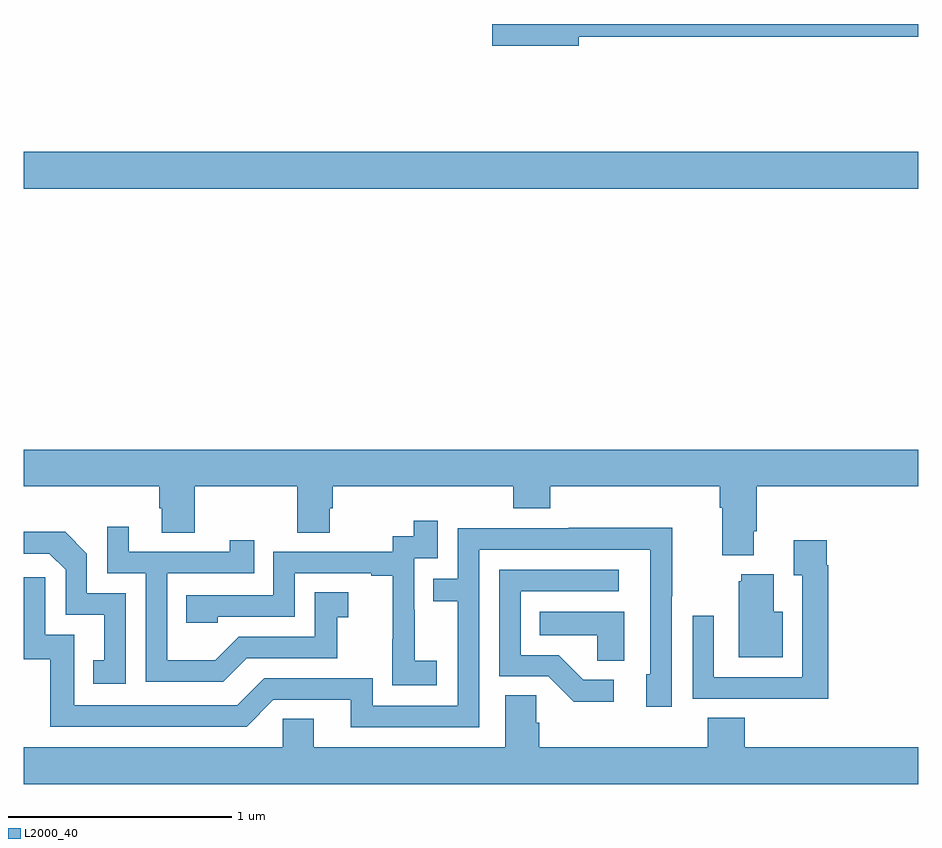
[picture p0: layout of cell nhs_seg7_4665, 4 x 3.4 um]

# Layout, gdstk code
import gdstk
lib = gdstk.Library(unit=1e-6, precision=1e-09)
def R(c, l, rs):  # rectangles x0, y0, x1, y1
    for r in rs: c.add(gdstk.rectangle(r[:2], r[2:], *l))
def P(c, l, *ps):  # polygons
    for p in ps: c.add(gdstk.Polygon(p, *l))
L2000_40 = (2000, 40)

nhs_seg7_4665 = lib.new_cell('nhs_seg7_4665')
R(nhs_seg7_4665, L2000_40, [(405,1019.264,409,1019.428)])
P(nhs_seg7_4665, L2000_40, [(407.482,1019.944),(409,1019.944),(409,1020),(407.094,1020),(407.094,1019.902),(407.482,1019.902)],
  [(408.265,1017.73),(408.278,1017.73),(408.278,1017.932),(409,1017.932),(409,1018.096),(405,1018.096),(405,1017.932),(405.605,1017.932),(405.605,1017.834),(405.617,1017.834),(405.617,1017.724),(405.765,1017.724),(405.765,1017.932),(406.222,1017.932),(406.222,1017.724),(406.369,1017.724),(406.369,1017.834),(406.382,1017.834),(406.382,1017.932),(407.189,1017.932),(407.189,1017.833),(407.354,1017.833),(407.354,1017.932),(408.113,1017.932),(408.113,1017.836),(408.125,1017.836),(408.125,1017.623),(408.265,1017.623)],
  [(406.846,1017.151),(406.748,1017.151),(406.748,1017.38),(406.746,1017.38),(406.746,1017.609),(406.851,1017.609),(406.851,1017.778),(406.743,1017.778),(406.743,1017.708),(406.65,1017.708),(406.65,1017.639),(406.116,1017.639),(406.116,1017.444),(405.727,1017.444),(405.727,1017.321),(405.867,1017.321),(405.867,1017.348),(406.212,1017.348),(406.212,1017.543),(406.553,1017.543),(406.553,1017.531),(406.649,1017.531),(406.649,1017.247),(406.648,1017.247),(406.648,1017.041),(406.846,1017.041)],
  [(405.997,1017.162),(406.401,1017.162),(406.401,1017.347),(406.45,1017.347),(406.45,1017.457),(406.302,1017.457),(406.302,1017.258),(405.96,1017.258),(405.856,1017.154),(405.642,1017.154),(405.642,1017.543),(406.031,1017.543),(406.031,1017.691),(405.92,1017.691),(405.92,1017.639),(405.469,1017.639),(405.469,1017.751),(405.372,1017.751),(405.372,1017.543),(405.546,1017.543),(405.546,1017.057),(405.892,1017.057)],
  [(407.037,1017.648),(407.802,1017.648),(407.802,1017.09),(407.783,1017.09),(407.783,1016.946),(407.898,1016.946),(407.898,1017.439),(407.901,1017.439),(407.901,1017.746),(407.437,1017.746),(407.437,1017.744),(406.941,1017.744),(406.941,1017.519),(406.831,1017.519),(406.831,1017.418),(406.941,1017.418),(406.941,1016.949),(406.56,1016.949),(406.56,1017.072),(406.074,1017.072),(405.954,1016.952),(405.225,1016.952),(405.225,1017.267),(405.096,1017.267),(405.096,1017.526),(405,1017.526),(405,1017.159),(405.117,1017.159),(405.117,1016.856),(405.996,1016.856),(406.116,1016.976),(406.463,1016.976),(406.463,1016.853),(407.037,1016.853)],
  [(405.456,1017.453),(405.282,1017.453),(405.282,1017.63),(405.184,1017.728),(405,1017.728),(405,1017.63),(405.114,1017.63),(405.186,1017.558),(405.186,1017.357),(405.359,1017.357),(405.359,1017.153),(405.31,1017.153),(405.31,1017.048),(405.456,1017.048)],
  [(408.599,1017.578),(408.592,1017.578),(408.592,1017.691),(408.443,1017.691),(408.443,1017.535),(408.483,1017.535),(408.483,1017.078),(408.087,1017.078),(408.087,1017.352),(407.991,1017.352),(407.991,1016.982),(408.307,1016.982),(408.307,1016.981),(408.599,1016.981)],
  [(407.638,1017.066),(407.503,1017.066),(407.392,1017.177),(407.223,1017.177),(407.223,1017.462),(407.662,1017.462),(407.662,1017.558),(407.127,1017.558),(407.127,1017.081),(407.346,1017.081),(407.459,1016.969),(407.638,1016.969)],
  [(408.394,1017.37),(408.355,1017.37),(408.355,1017.538),(408.209,1017.538),(408.209,1017.507),(408.197,1017.507),(408.197,1017.167),(408.394,1017.167)],
  [(407.686,1017.37),(407.308,1017.37),(407.308,1017.266),(407.565,1017.266),(407.565,1017.151),(407.686,1017.151)],
  [(409,1016.764),(408.224,1016.764),(408.224,1016.897),(408.059,1016.897),(408.059,1016.764),(407.306,1016.764),(407.306,1016.873),(407.292,1016.873),(407.292,1016.996),(407.153,1016.996),(407.153,1016.764),(406.297,1016.764),(406.297,1016.891),(406.158,1016.891),(406.158,1016.764),(405,1016.764),(405,1016.6),(409,1016.6)])

lib.write_gds('nhs_seg7_4665.gds')
